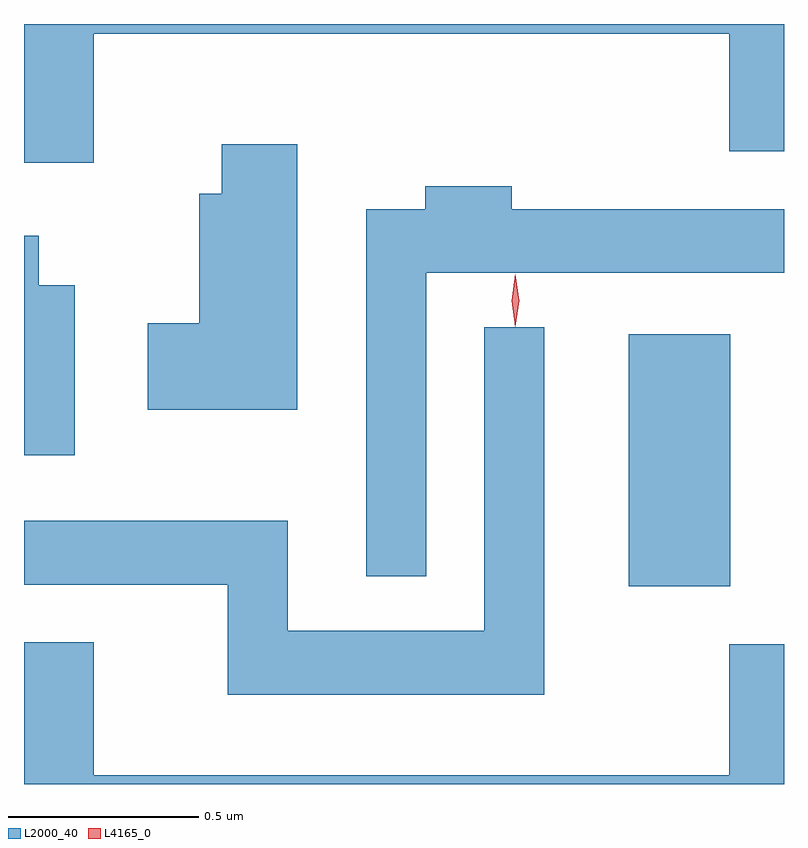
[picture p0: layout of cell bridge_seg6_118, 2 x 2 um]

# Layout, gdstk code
import gdstk
lib = gdstk.Library(unit=1e-6, precision=1e-09)
def R(c, l, rs):  # rectangles x0, y0, x1, y1
    for r in rs: c.add(gdstk.rectangle(r[:2], r[2:], *l))
def P(c, l, *ps):  # polygons
    for p in ps: c.add(gdstk.Polygon(p, *l))
L2000_40 = (2000, 40)
L4165_0 = (4165, 0)

bridge_seg6_118 = lib.new_cell('bridge_seg6_118')
R(bridge_seg6_118, L2000_40, [(1092.156,1599.641,1092.424,1600.304)])
P(bridge_seg6_118, L2000_40, [(1090.749,1601.096),(1092.421,1601.096),(1092.421,1600.786),(1092.565,1600.786),(1092.565,1601.121),(1090.565,1601.121),(1090.565,1600.756),(1090.749,1600.756)],
  [(1091.284,1600.804),(1091.086,1600.804),(1091.086,1600.674),(1091.026,1600.674),(1091.026,1600.334),(1090.891,1600.334),(1090.891,1600.106),(1091.284,1600.106)],
  [(1091.624,1600.466),(1092.565,1600.466),(1092.565,1600.634),(1091.849,1600.634),(1091.849,1600.694),(1091.621,1600.694),(1091.621,1600.634),(1091.466,1600.634),(1091.466,1599.668),(1091.624,1599.668)],
  [(1090.699,1600.434),(1090.604,1600.434),(1090.604,1600.564),(1090.565,1600.564),(1090.565,1599.986),(1090.699,1599.986)],
  [(1091.934,1600.323),(1091.776,1600.323),(1091.776,1599.524),(1091.259,1599.524),(1091.259,1599.814),(1090.565,1599.814),(1090.565,1599.646),(1091.101,1599.646),(1091.101,1599.356),(1091.934,1599.356)],
  [(1092.565,1599.489),(1092.421,1599.489),(1092.421,1599.144),(1090.749,1599.144),(1090.749,1599.494),(1090.565,1599.494),(1090.565,1599.121),(1092.565,1599.121)])
P(bridge_seg6_118, L4165_0, [(1091.858,1600.323),(1091.858,1600.324),(1091.848,1600.393),(1091.858,1600.462),(1091.858,1600.463),(1091.858,1600.462),(1091.868,1600.393),(1091.858,1600.324)])

lib.write_gds('bridge_seg6_118.gds')
